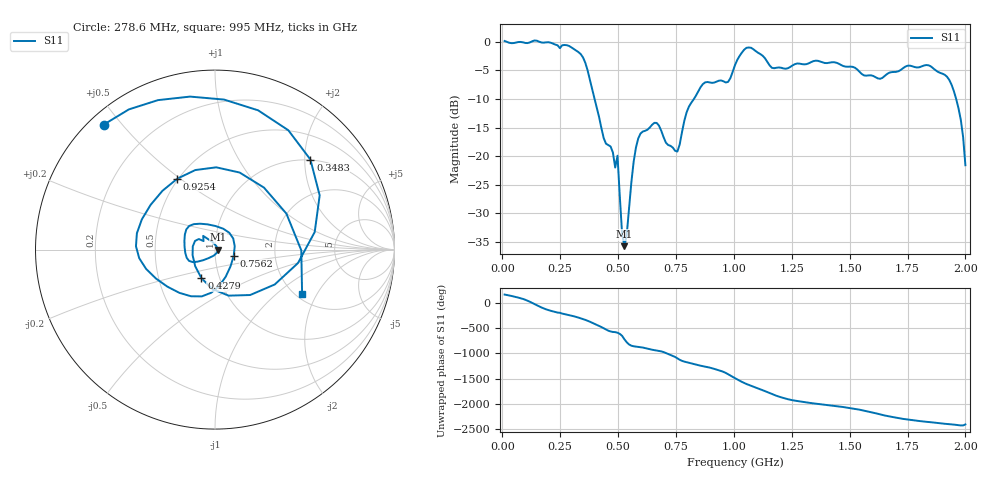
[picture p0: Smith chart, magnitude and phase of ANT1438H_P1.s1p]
!Created with skrf (http://scikit-rf.org).
# Hz S RI R 50.0
!freq ReS11 ImS11
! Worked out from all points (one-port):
!   201 points, 10 MHz to 2 GHz, reference 50 ohm
!   lowest |S11| = -35.7 dB at 527.4 MHz (marker M1), VSWR 1.03, Z = 51.7 + j0.00312 ohm
!   |S11| at or under -10 dB: 398.7 MHz to 827.6 MHz (428.9 MHz wide, 69.9 % of centre); 1.96 GHz to end of sweep
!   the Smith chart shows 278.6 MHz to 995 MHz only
!   S11 on the Smith chart (normalised r, x): 278.6 MHz: 0.04, +0.45; 348.3 MHz: 0.99, +2.13; 427.9 MHz: 0.82, -0.27; 756.2 MHz: 1.23, -0.08; 925.4 MHz: 0.49, +0.49; 995 MHz: 2.14, -1.53
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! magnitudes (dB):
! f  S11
! 10 MHz  0.1
! 258.8 MHz  -0.6
! 278.6 MHz  -0.6
! 348.3 MHz  -2.7
! 427.9 MHz  -15.1
! 487.6 MHz  -22.0
! 497.6 MHz  -19.9
! 507.5 MHz  -27.0
! 517.5 MHz  -33.6
! 527.4 MHz  -35.7
! 567.2 MHz  -21.0
! 597 MHz  -16.0
! 666.7 MHz  -14.2
! 756.2 MHz  -19.2
! 806 MHz  -11.3
! 865.7 MHz  -7.4
! 925.4 MHz  -7.0
! 995 MHz  -5.3
! 1.005 GHz  -4.1
! 1.065 GHz  -1.0
! 1.164 GHz  -4.6
! 1.254 GHz  -4.1
! 1.502 GHz  -4.4
! 1.632 GHz  -6.5
! 1.751 GHz  -4.2
! 1.93 GHz  -6.7
! 1.98 GHz  -13.6
! 2 GHz  -21.6
